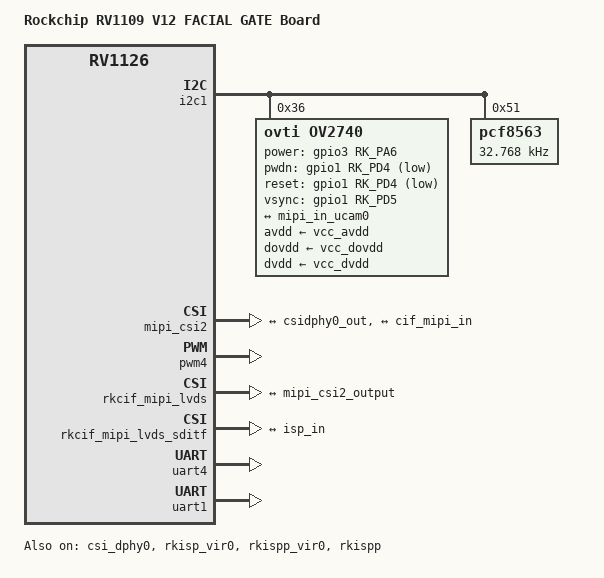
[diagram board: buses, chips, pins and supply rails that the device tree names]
// SPDX-License-Identifier: (GPL-2.0+ OR MIT)
/*
 * Copyright (c) 2020 Rockchip Electronics Co., Ltd.
 */
/dts-v1/;
#include "rv1126.dtsi"
#include "rv1126-evb-v10.dtsi"
/ {
	model = "Rockchip RV1109 V12 FACIAL GATE Board";
	compatible = "rockchip,rv1109-evb-ddr3-v12-facial-gate", "rockchip,rv1126";

	chosen {
		bootargs = "earlycon=uart8250,mmio32,0xff570000 console=ttyFIQ0 root=PARTUUID=614e0000-0000 rootfstype=ext4 rootwait snd_aloop.index=7";
	};
};

&csi_dphy0 {
	status = "okay";
	ports {
		port@0 {
			mipi_in_ucam0: endpoint@1 {
				remote-endpoint = <&ucam_out0>;
				data-lanes = <1 2>;
			};
		};
		port@1 {
			csidphy0_out: endpoint@0 {
				remote-endpoint = <&mipi_csi2_input>;
				data-lanes = <1 2>;
			};
		};
	};
};

&csi_dphy1 {
	status = "disabled";
};

&i2c1 {
	/delete-node/ ar0230@10;
	/delete-node/ ov4689@36;
	/delete-node/ os04a10@36;
	ov2740: ov2740@36 {
		compatible = "ovti,ov2740";
		reg = <0x36>;

		clocks = <&cru CLK_MIPICSI_OUT>;
		clock-names = "xvclk";

		power-domains = <&power RV1126_PD_VI>;
		pinctrl-names = "rockchip,camera_default";
		pinctrl-0 = <&mipicsi_clk0>;
		power-gpios = <&gpio3 RK_PA6 GPIO_ACTIVE_HIGH>;
		pwdn-gpios = <&gpio1 RK_PD4 GPIO_ACTIVE_LOW>;
		reset-gpios = <&gpio1 RK_PD4 GPIO_ACTIVE_LOW>;
		vsync-gpios = <&gpio1 RK_PD5 GPIO_ACTIVE_HIGH>;

		avdd-supply = <&vcc_avdd>;
		dovdd-supply = <&vcc_dovdd>;
		dvdd-supply = <&vcc_dvdd>;

		rockchip,camera-module-index = <0>;
		rockchip,camera-module-facing = "front";
		rockchip,camera-module-name = "YT-RV1109-2-V1";
		rockchip,camera-module-lens-name = "40IR-2MP-F20";
		port {
			ucam_out0: endpoint {
				remote-endpoint = <&mipi_in_ucam0>;
				data-lanes = <1 2>;
			};
		};
	};

	pcf8563: pcf8563@51 {
		compatible = "pcf8563";
		reg = <0x51>;
		#clock-cells = <0>;
		clock-frequency = <32768>;
		clock-output-names = "xin32k";
	};
};

&i2c5 {
    status = "disable";
};

/* isp cma buffer don't fiddle with it, dual camera(1920 * 1080) need 92M buffer */
&isp_reserved {
    size = <0x5c00000>;
};

&mipi_csi2 {
	status = "okay";
	ports {
		port@0 {
			mipi_csi2_input: endpoint@1 {
				remote-endpoint = <&csidphy0_out>;
				data-lanes = <1 2>;
			};
		};

		port@1 {
			mipi_csi2_output: endpoint@0 {
				remote-endpoint = <&cif_mipi_in>;
				data-lanes = <1 2>;
			};
		};
	};
};

&pwm4 {
	status = "okay";
	pinctrl-names = "active";
	pinctrl-0 = <&pwm4m0_pins_pull_down>;
};

&rk809 {
		regulators {

		vcc_dovdd: LDO_REG5 {
			regulator-always-on;
			regulator-boot-on;
			regulator-min-microvolt = <1800000>;
			regulator-max-microvolt = <1800000>;
			regulator-name = "vcc_dovdd";
			regulator-state-mem {
				regulator-on-in-suspend;
				regulator-suspend-microvolt = <1800000>;
			};
		};

		vcc_dvdd: LDO_REG6 {
			regulator-min-microvolt = <1300000>;
			regulator-max-microvolt = <1300000>;
			regulator-always-on;
			regulator-boot-on;
			regulator-min-microvolt = <1200000>;
			regulator-max-microvolt = <1200000>;
			regulator-name = "vcc_dvdd";
			regulator-state-mem {
				regulator-on-in-suspend;
				regulator-suspend-microvolt = <1200000>;
			};

		};

		vcc_avdd: LDO_REG7 {
			regulator-min-microvolt = <3300000>;
			regulator-max-microvolt = <3300000>;
			regulator-always-on;
			regulator-boot-on;
			regulator-min-microvolt = <2800000>;
			regulator-max-microvolt = <2800000>;
			regulator-name = "vcc_avdd";
			regulator-state-mem {
				regulator-on-in-suspend;
				regulator-suspend-microvolt = <2800000>;
			};

		};

	};
};

&rkcif_mipi_lvds {
	status = "okay";
	port {
		cif_mipi_in: endpoint {
			remote-endpoint = <&mipi_csi2_output>;
			data-lanes = <1 2>;
		};
	};
};

&rkcif_mipi_lvds_sditf {
	status = "okay";

	port {
		cif_sditf: endpoint {
			remote-endpoint = <&isp_in>;
			data-lanes = <1 2 3 4>;
		};
	};
};

&rkisp_vir0 {
	status = "okay";
	ports {
		port@0 {
			isp_in: endpoint@0 {
				remote-endpoint = <&cif_sditf>;
			};
		};
	};
};

&rkisp_vir1 {
	status = "disabled";
	ports {
		port@0 {
			reg = <0>;
			#address-cells = <1>;
			#size-cells = <0>;

			isp_virt1_in: endpoint@0 {
				reg = <0>;
				remote-endpoint = <&cif_sditf>;
			};
		};
	};
};

&rkispp_vir1 {
	status = "disabled";
};

&rkispp_vir0 {
	status = "okay";
};

&rkispp {
	status = "okay";
	/* the max input w h and fps of mulit sensor */
	max-input = <1920 1080 30>;
};

&uart4 {
    status = "okay";
    pinctrl-names = "default";
    pinctrl-0 = <&uart4m1_xfer>;
};

&uart1 {
    status = "okay";
    pinctrl-names = "default";
    dma-names = "tx", "rx";
    pinctrl-0 = <&uart1m0_xfer>;
};

